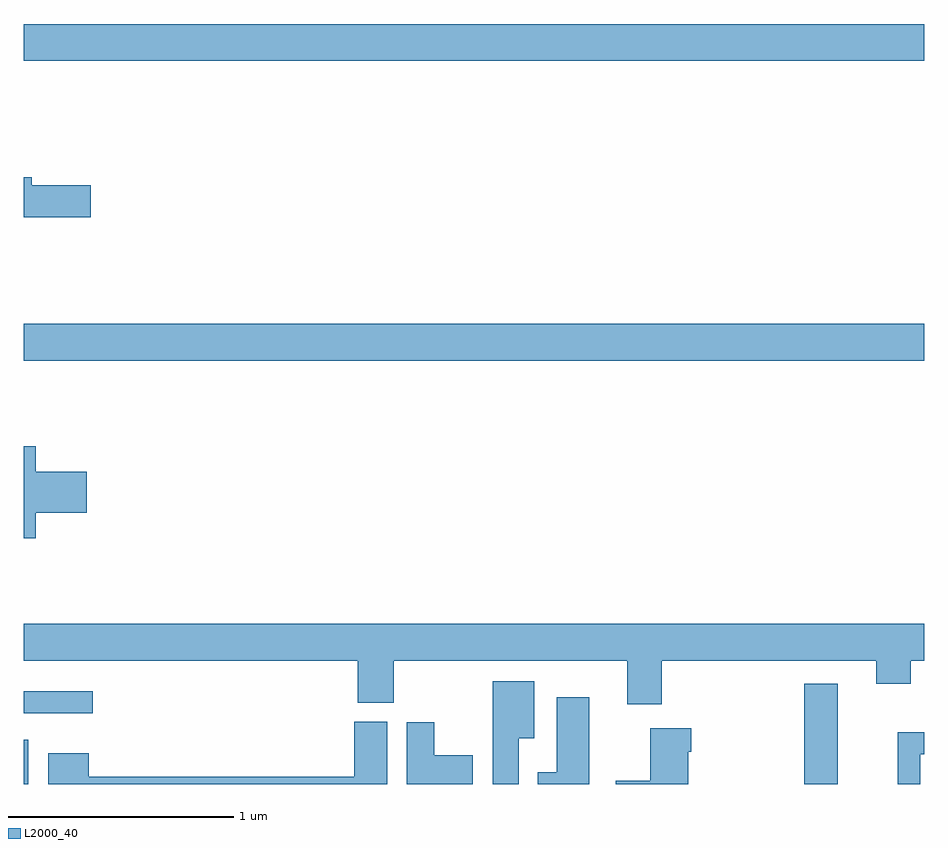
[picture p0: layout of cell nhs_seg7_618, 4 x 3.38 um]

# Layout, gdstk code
import gdstk
lib = gdstk.Library(unit=1e-6, precision=1e-09)
def R(c, l, rs):  # rectangles x0, y0, x1, y1
    for r in rs: c.add(gdstk.rectangle(r[:2], r[2:], *l))
def P(c, l, *ps):  # polygons
    for p in ps: c.add(gdstk.Polygon(p, *l))
L2000_40 = (2000, 40)

nhs_seg7_618 = lib.new_cell('nhs_seg7_618')
R(nhs_seg7_618, L2000_40, [(157,1068,157.021,1068.196), (160.466,1068,160.615,1068.445), (157,1068.315,157.306,1068.412), (157,1069.88,161,1070.044), (157,1071.212,161,1071.376)])
P(nhs_seg7_618, L2000_40, [(157.297,1070.66),(157.036,1070.66),(157.036,1070.696),(157,1070.696),(157,1070.518),(157.297,1070.518)],
  [(157.054,1069.205),(157.279,1069.205),(157.279,1069.388),(157.054,1069.388),(157.054,1069.501),(157,1069.501),(157,1069.091),(157.054,1069.091)],
  [(159.833,1068.548),(160.787,1068.548),(160.787,1068.446),(160.94,1068.446),(160.94,1068.548),(161,1068.548),(161,1068.712),(157,1068.712),(157,1068.548),(158.483,1068.548),(158.483,1068.361),(158.643,1068.361),(158.643,1068.548),(159.68,1068.548),(159.68,1068.354),(159.833,1068.354)],
  [(159.199,1068.203),(159.268,1068.203),(159.268,1068.457),(159.083,1068.457),(159.083,1068),(159.199,1068)],
  [(159.511,1068.385),(159.368,1068.385),(159.368,1068.052),(159.284,1068.052),(159.284,1068),(159.511,1068)],
  [(158.614,1068.276),(158.468,1068.276),(158.468,1068.032),(157.288,1068.032),(157.288,1068.136),(157.109,1068.136),(157.109,1068),(158.614,1068)],
  [(158.995,1068.127),(158.824,1068.127),(158.824,1068.274),(158.702,1068.274),(158.702,1068),(158.995,1068)],
  [(159.952,1068.143),(159.965,1068.143),(159.965,1068.247),(159.782,1068.247),(159.782,1068.015),(159.63,1068.015),(159.63,1068),(159.952,1068)],
  [(160.983,1068.132),(161,1068.132),(161,1068.23),(160.882,1068.23),(160.882,1068),(160.983,1068)])

lib.write_gds('nhs_seg7_618.gds')
